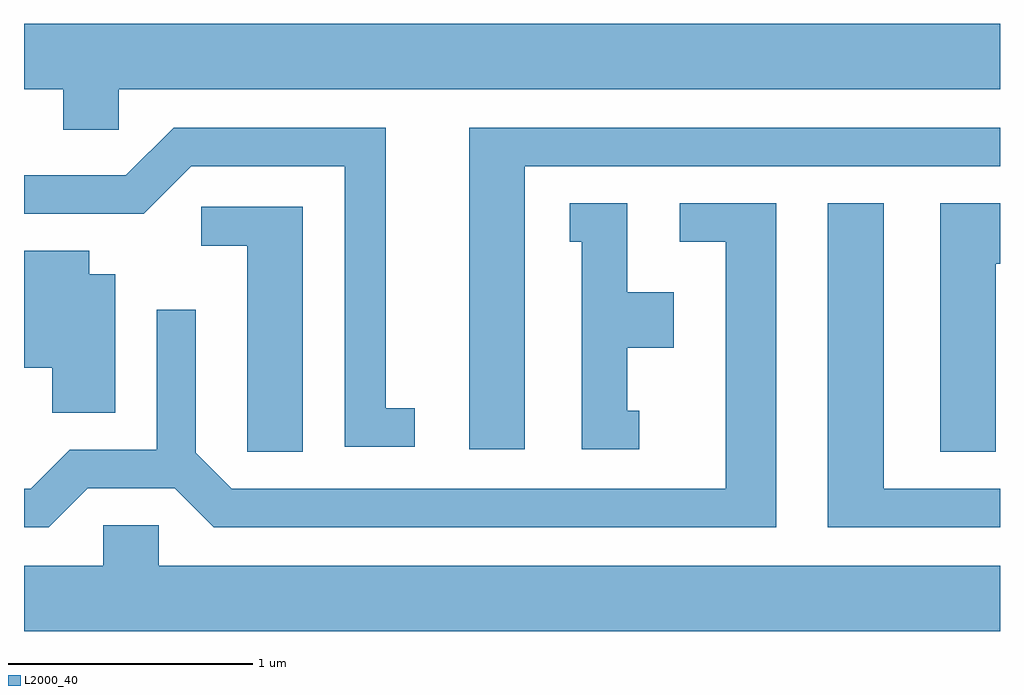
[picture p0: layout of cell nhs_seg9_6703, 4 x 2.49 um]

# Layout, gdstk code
import gdstk
lib = gdstk.Library(unit=1e-6, precision=1e-09)
def P(c, l, *ps):  # polygons
    for p in ps: c.add(gdstk.Polygon(p, *l))
L2000_40 = (2000, 40)

nhs_seg9_6703 = lib.new_cell('nhs_seg9_6703')
P(nhs_seg9_6703, L2000_40, [(383.999,1971.836),(387.611,1971.836),(387.611,1972.104),(383.611,1972.104),(383.611,1971.836),(383.771,1971.836),(383.771,1971.671),(383.999,1971.671)],
  [(385.213,1970.529),(385.094,1970.529),(385.094,1971.679),(384.224,1971.679),(384.029,1971.484),(383.611,1971.484),(383.611,1971.326),(384.102,1971.326),(384.297,1971.521),(384.926,1971.521),(384.926,1970.371),(385.213,1970.371)],
  [(385.664,1971.521),(387.611,1971.521),(387.611,1971.679),(385.436,1971.679),(385.436,1970.361),(385.664,1970.361)],
  [(383.872,1970.201),(384.229,1970.201),(384.389,1970.041),(386.694,1970.041),(386.694,1971.369),(386.298,1971.369),(386.298,1971.211),(386.486,1971.211),(386.486,1970.199),(384.462,1970.199),(384.314,1970.347),(384.314,1970.933),(384.156,1970.933),(384.156,1970.359),(383.799,1970.359),(383.639,1970.199),(383.611,1970.199),(383.611,1970.041),(383.712,1970.041)],
  [(387.611,1970.199),(387.134,1970.199),(387.134,1971.369),(386.906,1971.369),(386.906,1970.041),(387.611,1970.041)],
  [(387.594,1971.121),(387.611,1971.121),(387.611,1971.369),(387.366,1971.369),(387.366,1970.351),(387.594,1970.351)],
  [(386.133,1970.519),(386.084,1970.519),(386.084,1970.776),(386.274,1970.776),(386.274,1971.004),(386.084,1971.004),(386.084,1971.369),(385.848,1971.369),(385.848,1971.211),(385.896,1971.211),(385.896,1970.361),(386.133,1970.361)],
  [(384.754,1971.354),(384.338,1971.354),(384.338,1971.196),(384.526,1971.196),(384.526,1970.351),(384.754,1970.351)],
  [(383.984,1971.079),(383.879,1971.079),(383.879,1971.174),(383.611,1971.174),(383.611,1970.696),(383.726,1970.696),(383.726,1970.511),(383.984,1970.511)],
  [(387.611,1969.884),(384.164,1969.884),(384.164,1970.049),(383.936,1970.049),(383.936,1969.884),(383.611,1969.884),(383.611,1969.616),(387.611,1969.616)])

lib.write_gds('nhs_seg9_6703.gds')
